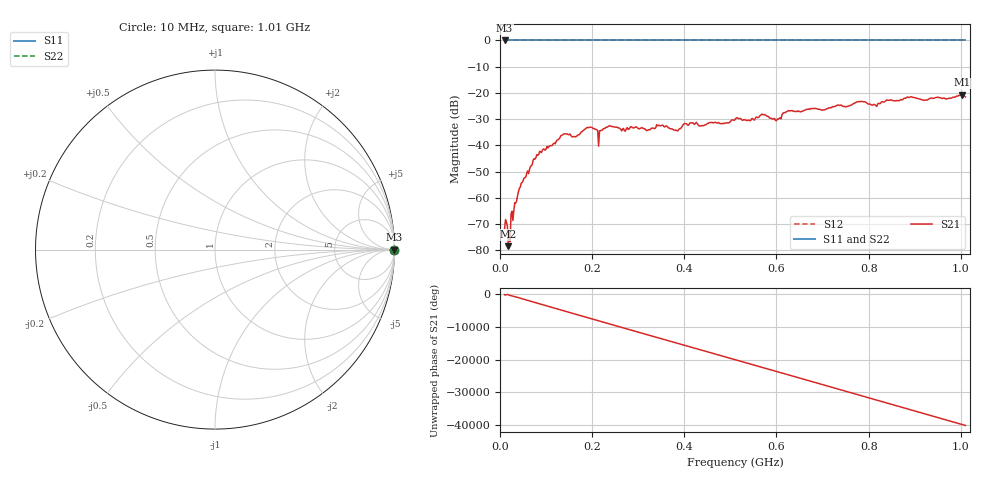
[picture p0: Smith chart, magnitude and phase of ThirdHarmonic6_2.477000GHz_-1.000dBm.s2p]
! 8/17/2025 4:35:56 AM
! C:\ANRITSUVNA\TEMP\TEMP.S2P
! CHANNEL.1
! TR.MEASUREMENT
! RAW.DATA
! RF.CORRECTION.OFF
! AVERAGING.OFF
! IF.BANDWIDTH: 5KHZ
! SWEEPTYPE:  FREQ.SWEEP(Linear)
! Reference Plane Port Info
! PORT:  PORT1  PORT2
! DISTANCE:  0  m  0  m
! TIME:  0  s  0  s
! PHASE.OFFSET:  0  deg.  0  deg.
! LOSS:  0  dB  0  dB
! REF.LOSS:  0  dB  0  dB
! REF.FREQ:  0  Hz  0  Hz
! Power Info
! POWER:  -20  dBm  -20  dBm
! EFF.POWER:  -20  dBm  -20  dBm
! SOURCE.ATTEN:  0  dB  0  dB
! TEST.ATTEN:  0  dB  0  dB
# GHZ S RI R 50.0
! FREQ.GHZ  S11RE  S11IM  S21RE  S21IM  S12RE  S12IM  S22RE  S22IM
!; PortSelection: Port_12
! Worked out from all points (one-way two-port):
!   501 points, 10 MHz to 1.01 GHz, reference 50 ohm
!   highest |S21| = -20.72 dB at 1.002 GHz (marker M1); lowest = -78.5 dB at 18 MHz (marker M2)
!   lowest |S11| = 0.0 dB at 10 MHz (marker M3)
!   |S11| at or under -10 dB: nowhere
!   |S22| runs from 0.0 to 0.0 dB; largest |S21 - S12| = 1.1
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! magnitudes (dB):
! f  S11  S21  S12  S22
! 10 MHz  0.0  -71.7  0.0  0.0
! 18 MHz  0.0  -78.5  0.0  0.0
! 44 MHz  0.0  -56.0  0.0  0.0
! 76 MHz  0.0  -45.2  0.0  0.0
! 136 MHz  0.0  -36.0  0.0  0.0
! 162 MHz  0.0  -36.7  0.0  0.0
! 178 MHz  0.0  -34.7  0.0  0.0
! 196 MHz  0.0  -33.0  0.0  0.0
! 218 MHz  0.0  -34.4  0.0  0.0
! 240 MHz  0.0  -32.7  0.0  0.0
! 322 MHz  0.0  -34.1  0.0  0.0
! 344 MHz  0.0  -32.4  0.0  0.0
! 382 MHz  0.0  -34.2  0.0  0.0
! 402 MHz  0.0  -31.7  0.0  0.0
! 510 MHz  0.0  -30.1  0.0  0.0
! 572 MHz  0.0  -28.3  0.0  0.0
! 602 MHz  0.0  -30.0  0.0  0.0
! 626 MHz  0.0  -26.7  0.0  0.0
! 678 MHz  0.0  -26.0  0.0  0.0
! 844 MHz  0.0  -22.8  0.0  0.0
! 1.002 GHz  0.0  -20.7  0.0  0.0
! 1.01 GHz  0.0  -21.5  0.0  0.0
